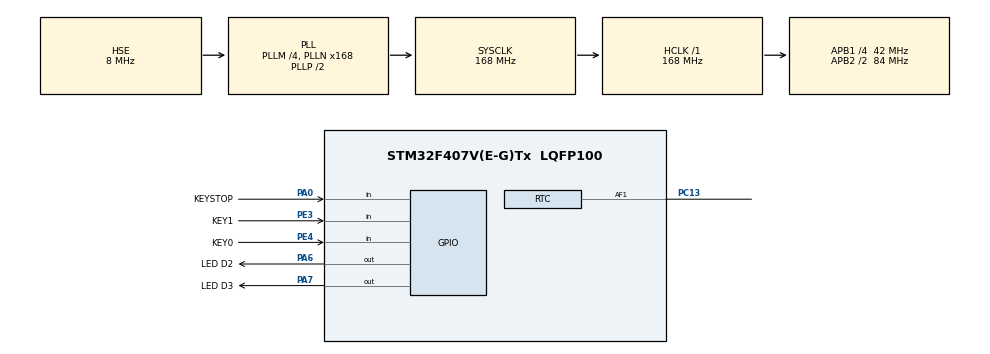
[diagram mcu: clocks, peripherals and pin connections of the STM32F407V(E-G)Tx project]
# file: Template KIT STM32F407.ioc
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ADC1.Channel-0\#ChannelRegularConversion=ADC_CHANNEL_TEMPSENSOR
ADC1.NbrOfConversionFlag=1
ADC1.Rank-0\#ChannelRegularConversion=1
ADC1.SamplingTime-0\#ChannelRegularConversion=ADC_SAMPLETIME_3CYCLES
ADC1.master=1
Mcu.Family=STM32F4
Mcu.Name=STM32F407V(E-G)Tx
Mcu.Package=LQFP100
NVIC.PriorityGroup=NVIC_PRIORITYGROUP_4
PA0-WKUP.GPIO_Label=KEYSTOP
PA0-WKUP.GPIO_PuPd=GPIO_PULLDOWN
PA0-WKUP.Signal=GPIO_Input
PA13.Mode=Trace_Asynchronous_SW
PA13.Signal=SYS_JTMS-SWDIO
PA14.Mode=Trace_Asynchronous_SW
PA14.Signal=SYS_JTCK-SWCLK
PA6.GPIO_Label=LED D2
PA6.GPIO_PuPd=GPIO_PULLUP
PA6.GPIO_Speed=GPIO_SPEED_FREQ_VERY_HIGH
PA6.PinState=GPIO_PIN_SET
PA6.Signal=GPIO_Output
PA7.GPIO_Label=LED D3
PA7.GPIO_PuPd=GPIO_PULLUP
PA7.GPIO_Speed=GPIO_SPEED_FREQ_VERY_HIGH
PA7.PinState=GPIO_PIN_SET
PA7.Signal=GPIO_Output
PB3.Mode=Trace_Asynchronous_SW
PB3.Signal=SYS_JTDO-SWO
PC13-ANTI_TAMP.Mode=Tamper 1 enabled - Input Enabled to AF1
PC13-ANTI_TAMP.Signal=RTC_AF1
PE3.GPIO_Label=KEY1
PE3.GPIO_PuPd=GPIO_PULLUP
PE3.Signal=GPIO_Input
PE4.GPIO_Label=KEY0
PE4.GPIO_PuPd=GPIO_PULLUP
PE4.Signal=GPIO_Input
PH0-OSC_IN.Mode=HSE-External-Oscillator
PH0-OSC_IN.Signal=RCC_OSC_IN
PH1-OSC_OUT.Mode=HSE-External-Oscillator
PH1-OSC_OUT.Signal=RCC_OSC_OUT
ProjectManager.HeapSize=0x200
ProjectManager.StackSize=0x400
ProjectManager.TargetToolchain=MDK-ARM V5
RCC.48MHZClocksFreq_Value=84000000
RCC.AHBFreq_Value=168000000
RCC.APB1CLKDivider=RCC_HCLK_DIV4
RCC.APB1Freq_Value=42000000
RCC.APB1TimFreq_Value=84000000
RCC.APB2CLKDivider=RCC_HCLK_DIV2
RCC.APB2Freq_Value=84000000
RCC.APB2TimFreq_Value=168000000
RCC.CortexFreq_Value=168000000
RCC.HCLKFreq_Value=168000000
RCC.HSE_VALUE=8000000
RCC.HSI_VALUE=16000000
RCC.LSE_VALUE=32768
RCC.PLLM=4
RCC.PLLN=168
RCC.PLLSourceVirtual=RCC_PLLSOURCE_HSE
RCC.SYSCLKFreq_VALUE=168000000
RCC.SYSCLKSource=RCC_SYSCLKSOURCE_PLLCLK
RCC.VCOOutputFreq_Value=336000000
RTC.PinSelection_1=RTC_TAMPERPIN_DEFAULT
VP_ADC1_TempSens_Input.Mode=IN-TempSens
VP_RTC_VS_RTC_Activate.Mode=RTC_Enabled
VP_RTC_VS_RTC_Calendar.Mode=RTC_Calendar
board=custom

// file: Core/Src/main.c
/* USER CODE BEGIN Header */
/**
 ******************************************************************************
 * @file           : main.c
 * @brief          : Main program body
 ******************************************************************************
 * @attention
 *
 * Copyright (c) 2023 STMicroelectronics.
 * All rights reserved.
 *
 * This software is licensed under terms that can be found in the LICENSE file
 * in the root directory of this software component.
 * If no LICENSE file comes with this software, it is provided AS-IS.
 *
 ******************************************************************************
 */
/* USER CODE END Header */
#include "main.h"
#include "adc.h"
#include "rtc.h"
#include "gpio.h"

/* USER CODE BEGIN Includes */
#include <stdio.h>
/* USER CODE END Includes */

/* USER CODE BEGIN PV */
int b_Pause = 0; // key Pause Speed
int b_SpeedUP = 0; // key UP Speed
int b_SpeedDW = 0; // key DW Speed
int v_Speed = 100; // gia tri toc do blink led
int v_Pause = 0;
/* USER CODE END PV */

void SystemClock_Config(void);

int main(void)
{

  /* MCU Configuration--------------------------------------------------------*/

  /* Reset of all peripherals, Initializes the Flash interface and the Systick. */
  HAL_Init();

  /* Configure the system clock */
  SystemClock_Config();

  /* Initialize all configured peripherals */
  MX_GPIO_Init();
  MX_ADC1_Init();
  MX_RTC_Init();
  /* USER CODE BEGIN 2 */
	HAL_Delay(200);
	printf("Khoi tao v_Speed %d \n", v_Speed);
  /* USER CODE END 2 */

  /* Infinite loop */
	while (1)
	{

    /* USER CODE BEGIN 3 */
		b_SpeedUP = HAL_GPIO_ReadPin(KEY0_GPIO_Port, KEY0_Pin);
		b_SpeedDW = HAL_GPIO_ReadPin(KEY1_GPIO_Port, KEY1_Pin);
		b_Pause = HAL_GPIO_ReadPin(KEYSTOP_GPIO_Port, KEYSTOP_Pin);

		if (!b_SpeedUP) // tich cuc muc thap
		{
			HAL_Delay(50);
			if (!b_SpeedUP)
			{
				v_Speed = v_Speed + 100;
				v_Pause = 0;
				printf("v_Speed %d \n", v_Speed);
				HAL_GPIO_WritePin(LED_D2_GPIO_Port, LED_D2_Pin | LED_D3_Pin, GPIO_PIN_RESET);
			}
		}
		else if (!b_SpeedDW) // tich cuc muc thap
		{
			HAL_Delay(50);
			if (!b_SpeedDW)
			{
				if (v_Speed < 100)
				{
					v_Pause = 1;
					printf("v_Speed NONE \n");
				}
				else
				{
					v_Speed = v_Speed - 100;
					v_Pause = 0;
				}
				printf("v_Speed %d \n", v_Speed);
				HAL_GPIO_WritePin(LED_D2_GPIO_Port, LED_D2_Pin | LED_D3_Pin, GPIO_PIN_RESET);
			}
		}
		else if (b_Pause) // tich cuc muc cao
		{
			HAL_Delay(100);
			if (b_Pause)
			{
				v_Pause = ~v_Pause&0x00000001; //phep toan AND bit
				printf("b_Pause => v_Pause %d \n", v_Pause);
				HAL_GPIO_WritePin(LED_D2_GPIO_Port, LED_D2_Pin | LED_D3_Pin, GPIO_PIN_RESET);
			}
		}

		if (v_Pause)
		{
			HAL_GPIO_WritePin(LED_D2_GPIO_Port, LED_D2_Pin | LED_D3_Pin, GPIO_PIN_RESET);
			HAL_Delay(250); // han che Dвt overflow
		}
		else
		{
			HAL_GPIO_TogglePin(LED_D2_GPIO_Port, LED_D2_Pin | LED_D3_Pin);
			HAL_Delay(v_Speed);
		}
	}
  /* USER CODE END 3 */
}

void SystemClock_Config(void)
{
  RCC_OscInitTypeDef RCC_OscInitStruct = {0};
  RCC_ClkInitTypeDef RCC_ClkInitStruct = {0};

  /** Configure the main internal regulator output voltage
  */
  __HAL_RCC_PWR_CLK_ENABLE();
  __HAL_PWR_VOLTAGESCALING_CONFIG(PWR_REGULATOR_VOLTAGE_SCALE1);

  /** Initializes the RCC Oscillators according to the specified parameters
  * in the RCC_OscInitTypeDef structure.
  */
  RCC_OscInitStruct.OscillatorType = RCC_OSCILLATORTYPE_LSI|RCC_OSCILLATORTYPE_HSE;
  RCC_OscInitStruct.HSEState = RCC_HSE_ON;
  RCC_OscInitStruct.LSIState = RCC_LSI_ON;
  RCC_OscInitStruct.PLL.PLLState = RCC_PLL_ON;
  RCC_OscInitStruct.PLL.PLLSource = RCC_PLLSOURCE_HSE;
  RCC_OscInitStruct.PLL.PLLM = 4;
  RCC_OscInitStruct.PLL.PLLN = 168;
  RCC_OscInitStruct.PLL.PLLP = RCC_PLLP_DIV2;
  RCC_OscInitStruct.PLL.PLLQ = 4;
  if (HAL_RCC_OscConfig(&RCC_OscInitStruct) != HAL_OK)
  {
    Error_Handler();
  }

  /** Initializes the CPU, AHB and APB buses clocks
  */
  RCC_ClkInitStruct.ClockType = RCC_CLOCKTYPE_HCLK|RCC_CLOCKTYPE_SYSCLK
                              |RCC_CLOCKTYPE_PCLK1|RCC_CLOCKTYPE_PCLK2;
  RCC_ClkInitStruct.SYSCLKSource = RCC_SYSCLKSOURCE_PLLCLK;
  RCC_ClkInitStruct.AHBCLKDivider = RCC_SYSCLK_DIV1;
  RCC_ClkInitStruct.APB1CLKDivider = RCC_HCLK_DIV4;
  RCC_ClkInitStruct.APB2CLKDivider = RCC_HCLK_DIV2;

  if (HAL_RCC_ClockConfig(&RCC_ClkInitStruct, FLASH_LATENCY_5) != HAL_OK)
  {
    Error_Handler();
  }
}

void Error_Handler(void)
{
	__disable_irq();
	while (1)
	{
	}
}
